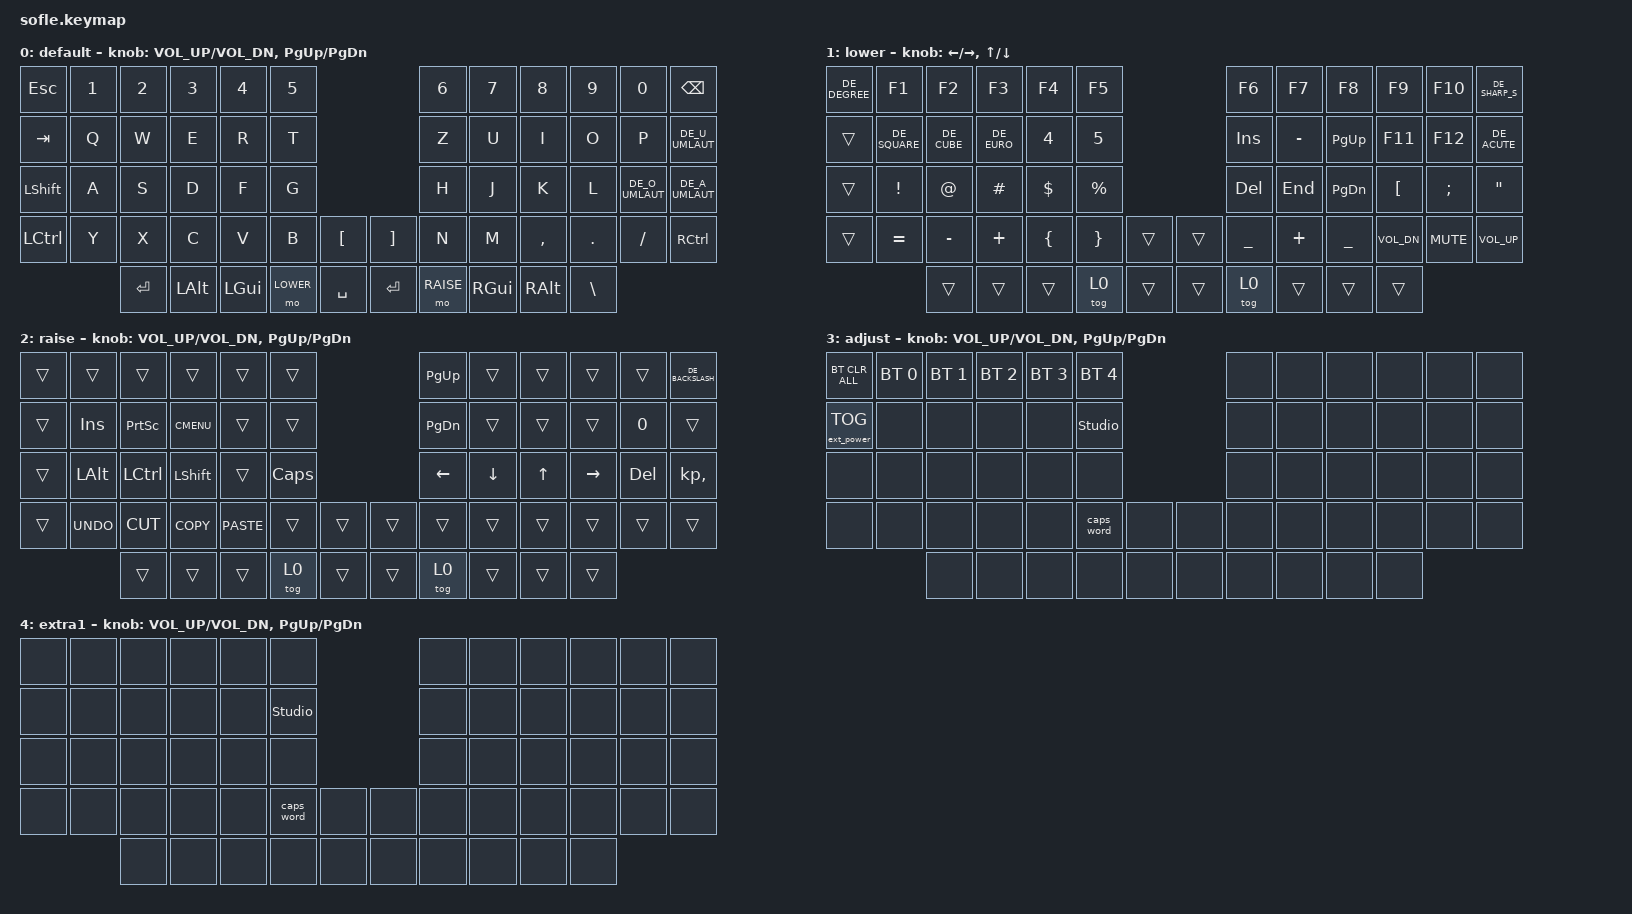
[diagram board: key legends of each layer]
/*
 * Copyright (c) 2020 The ZMK Contributors
 *
 * SPDX-License-Identifier: MIT
 */

#include <behaviors.dtsi>
#include <dt-bindings/zmk/bt.h>
#include <dt-bindings/zmk/ext_power.h>
#include <dt-bindings/zmk/keys.h>
#include "keys_de.h"

#define BASE 0
#define LOWER 1
#define RAISE 2
#define ADJUST 3
#define extra_layer 4

/ {
    // Activate ADJUST layer by pressing raise and lower

    conditional_layers {
        compatible = "zmk,conditional-layers";

        adjust_layer {
            if-layers = <LOWER RAISE>;
            then-layer = <ADJUST>;
        };
    };

    combos {
        compatible = "zmk,combos";

        backspace {
            bindings = <&kp BACKSPACE>;
            key-positions = <32 31>;
        };

        delete {
            bindings = <&kp DELETE>;
            key-positions = <27 33>;
        };

        esc {
            bindings = <&kp ESCAPE>;
            key-positions = <25 41>;
        };

        scharf_s {
            bindings = <&kp DE_CAPITAL_SHARP_S>;
            key-positions = <24 11>;
        };
    };

    behaviors {
        caps: caps {
            compatible = "zmk,behavior-caps-word";
            label = "CAPS";
            #binding-cells = <0>;
            continue-list = <POUND MINUS BACKSPACE UNDERSCORE>;
        };
    };

    keymap {
        compatible = "zmk,keymap";

        default_layer {
            display-name = "default";

            // ------------------------------------------------------------------------------------------------------------
            // |   `   |  1  |  2  |  3   |  4   |  5   |                   |  6   |  7    |  8    |  9   |   0   |       |
            // |  ESC  |  Q  |  W  |  E   |  R   |  T   |                   |  Y   |  U    |  I    |  O   |   P   | BKSPC |
            // |  TAB  |  A  |  S  |  D   |  F   |  G   |                   |  H   |  J    |  K    |  L   |   ;   |   '   |
            // | SHIFT |  Z  |  X  |  C   |  V   |  B   |  MUTE  |  |       |  N   |  M    |  ,    |  .   |   /   | SHIFT |
            //               | GUI | ALT  | CTRL | LOWER|  ENTER |  | SPACE | RAISE| CTRL  | ALT   | GUI  |

            bindings = <
&kp ESCAPE        &kp N1  &kp N2     &kp N3        &kp N4        &kp N5                             &kp N6     &kp N7         &kp N8         &kp N9         &kp N0           &kp BACKSPACE
&kp TAB           &kp Q   &kp W      &kp E         &kp R         &kp T                              &kp Z      &kp U          &kp I          &kp O          &kp P            &kp DE_U_UMLAUT
&kp LEFT_SHIFT    &kp A   &kp S      &kp D         &kp F         &kp G                              &kp H      &kp J          &kp K          &kp L          &kp DE_O_UMLAUT  &kp DE_A_UMLAUT
&kp LEFT_CONTROL  &kp Y   &kp X      &kp C         &kp V         &kp B      &kp LBKT     &kp RBKT   &kp N      &kp M          &kp COMMA      &kp DOT        &kp FSLH         &kp RCTRL
                          &kp ENTER  &kp LEFT_ALT  &kp LEFT_GUI  &mo LOWER  &kp SPACE    &kp ENTER  &mo RAISE  &kp RIGHT_GUI  &kp RIGHT_ALT  &kp BACKSLASH
            >;

            sensor-bindings = <&inc_dec_kp C_VOL_UP C_VOL_DN &inc_dec_kp PG_UP PG_DN>;
        };

        lower_layer {
            display-name = "lower";

            // TODO: Some binds are waiting for shifted keycode support.
            // ------------------------------------------------------------------------------------------------------------
            // |       |  F1 |  F2 |  F3  |  F4  |  F5  |                   |  F6  |  F7   |  F8   |  F9  |  F10  |  F11  |
            // |   `   |  1  |  2  |  3   |  4   |  5   |                   |  6   |  7    |  8    |  9   |   0   |  F12  |
            // |       |  !  |  @  |  #   |  $   |  %   |                   |  ^   |  &    |  *    |  (   |   )   |   |   |
            // |       |  =  |  -  |  +   |  {   |  }   |        |  |       |  [   |  ]    |  ;    |  :   |   \   |       |
            //               |     |      |      |      |        |  |       |      |       |       |      |

            bindings = <
&kp DE_DEGREE  &kp F1         &kp F2       &kp F3       &kp F4    &kp F5                       &kp F6          &kp F7     &kp F8         &kp F9            &kp F10     &kp DE_SHARP_S
&trans         &kp DE_SQUARE  &kp DE_CUBE  &kp DE_EURO  &kp N4    &kp N5                       &kp INS         &kp MINUS  &kp PAGE_UP    &kp F11           &kp F12     &kp DE_ACUTE
&trans         &kp EXCL       &kp AT       &kp HASH     &kp DLLR  &kp PRCNT                    &kp DEL         &kp END    &kp PAGE_DOWN  &kp LEFT_BRACKET  &kp SEMI    &kp DQT
&trans         &kp EQUAL      &kp MINUS    &kp PLUS     &kp LBRC  &kp RBRC   &trans    &trans  &kp UNDERSCORE  &kp PLUS   &kp UNDER      &kp C_VOL_DN      &kp C_MUTE  &kp C_VOLUME_UP
                              &trans       &trans       &trans    &tog 0     &trans    &trans  &tog 0          &trans     &trans         &trans
            >;

            sensor-bindings =
                <&inc_dec_kp LEFT_ARROW RIGHT_ARROW>,
                <&inc_dec_kp UP_ARROW DOWN_ARROW>;
        };

        raise_layer {
            display-name = "raise";

            // ------------------------------------------------------------------------------------------------------------
            // | BTCLR | BT1  | BT2  |  BT3  |  BT4  |  BT5 |                |      |      |       |      |       |       |
            // |       | INS  | PSCR | GUI   |       |      |                | PGUP |      |   ^   |      |       |       |
            // |       | ALT  | CTRL | SHIFT |       | CAPS |                | PGDN |   <- |   v   |  ->  |  DEL  | BKSPC |
            // |       | UNDO | CUT  | COPY  | PASTE |      |      |  |      |      |      |       |      |       |       |
            //                |      |       |       |      |      |  |      |      |      |       |      |

            bindings = <
&trans  &trans      &trans     &trans       &trans       &trans                      &kp PAGE_UP    &trans          &trans        &trans     &trans   &kp DE_BACKSLASH
&trans  &kp INS     &kp PSCRN  &kp K_CMENU  &trans       &trans                      &kp PAGE_DOWN  &trans          &trans        &trans     &kp N0   &trans
&trans  &kp LALT    &kp LCTRL  &kp LSHFT    &trans       &kp CLCK                    &kp LEFT       &kp DOWN_ARROW  &kp UP_ARROW  &kp RIGHT  &kp DEL  &kp KP_COMMA
&trans  &kp K_UNDO  &kp K_CUT  &kp K_COPY   &kp K_PASTE  &trans    &trans    &trans  &trans         &trans          &trans        &trans     &trans   &trans
                    &trans     &trans       &trans       &tog 0    &trans    &trans  &tog 0         &trans          &trans        &trans
            >;

            sensor-bindings = <&inc_dec_kp C_VOL_UP C_VOL_DN &inc_dec_kp PG_UP PG_DN>;
        };

        adjust_layer {
            // ----------------------------------------------------------------------------------------------------------------------------
            // | BTCLR  |  BT1    |  BT2    |   BT3   |   BT4   |   BT5   |                  |      |      |       |      |       |       |
            // | EXTPWR | RGB_HUD | RGB_HUI | RGB_SAD | RGB_SAI | RGB_EFF |                  |      |      |       |      |       |       |
            // |        | RGB_BRD | RGB_BRI |         |         |         |                  |      |      |       |      |       |       |
            // |        |         |         |         |         |         | RGB_TOG | |      |      |      |       |      |       |       |
            //                    |         |         |         |         |         | |      |      |      |       |      |

            display-name = "adjust";
            bindings = <
&bt BT_CLR_ALL     &bt BT_SEL 0  &bt BT_SEL 1  &bt BT_SEL 2  &bt BT_SEL 3  &bt BT_SEL 4                    &none  &none  &none  &none  &none  &none
&ext_power EP_TOG  &none         &none         &none         &none         &studio_unlock                  &none  &none  &none  &none  &none  &none
&none              &none         &none         &none         &none         &none                           &none  &none  &none  &none  &none  &none
&none              &none         &none         &none         &none         &caps_word      &none    &none  &none  &none  &none  &none  &none  &none
                                 &none         &none         &none         &none           &none    &none  &none  &none  &none  &none
            >;

            sensor-bindings = <&inc_dec_kp C_VOL_UP C_VOL_DN &inc_dec_kp PG_UP PG_DN>;
        };

        extra_layer {
            // ----------------------------------------------------------------------------------------------------------------------------
            // | BTCLR  |  BT1    |  BT2    |   BT3   |   BT4   |   BT5   |                  |      |      |       |      |       |       |
            // | EXTPWR | RGB_HUD | RGB_HUI | RGB_SAD | RGB_SAI | RGB_EFF |                  |      |      |       |      |       |       |
            // |        | RGB_BRD | RGB_BRI |         |         |         |                  |      |      |       |      |       |       |
            // |        |         |         |         |         |         | RGB_TOG | |      |      |      |       |      |       |       |
            //                    |         |         |         |         |         | |      |      |      |       |      |

            display-name = "extra1";
            bindings = <
&none  &none  &none  &none  &none  &none                           &none  &none  &none  &none  &none  &none
&none  &none  &none  &none  &none  &studio_unlock                  &none  &none  &none  &none  &none  &none
&none  &none  &none  &none  &none  &none                           &none  &none  &none  &none  &none  &none
&none  &none  &none  &none  &none  &caps_word      &none    &none  &none  &none  &none  &none  &none  &none
              &none  &none  &none  &none           &none    &none  &none  &none  &none  &none
            >;

            sensor-bindings = <&inc_dec_kp C_VOL_UP C_VOL_DN &inc_dec_kp PG_UP PG_DN>;
        };
    };
};
